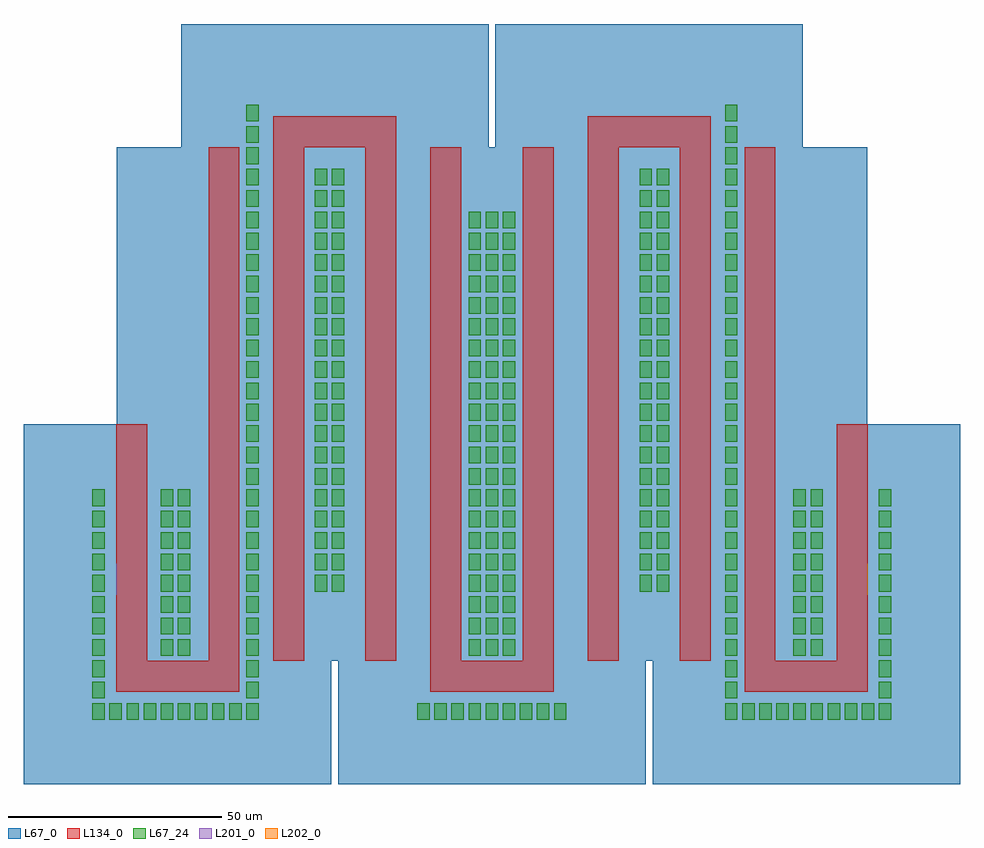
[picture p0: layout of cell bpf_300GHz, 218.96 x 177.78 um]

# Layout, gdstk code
from math import pi, radians
import gdstk
lib = gdstk.Library(unit=1e-6, precision=1e-09)
def R(c, l, rs):  # rectangles x0, y0, x1, y1
    for r in rs: c.add(gdstk.rectangle(r[:2], r[2:], *l))
L67_0 = (67, 0)
L67_24 = (67, 24)
L134_0 = (134, 0)
L201_0 = (201, 0)
L202_0 = (202, 0)

straight_gdsfactorypcomp = lib.new_cell('straight_gdsfactorypcomponentspwaveguidespstraight_L0_N_314f84cf')

c_straight_gdsfactorypcomp = lib.new_cell('straight_gdsfactorypcomponentspwaveguidespstraight_L0_N_18075a77')

tline_l0_scstopmetal2_ro = lib.new_cell('tline_L0_SCStopmetal2_routing_GCSmetal5_routing_WNone_Z50_N2')
tline_l0_scstopmetal2_ro.add(gdstk.Reference(straight_gdsfactorypcomp, (0,0)))
tline_l0_scstopmetal2_ro.add(gdstk.Reference(c_straight_gdsfactorypcomp, (0,0)))

c_straight_gdsfactorypcomp_ = lib.new_cell('straight_gdsfactorypcomponentspwaveguidespstraight_L55p_e40321a2')
R(c_straight_gdsfactorypcomp_, L134_0, [(0,-3.6,55.375,3.6)])

c_straight_gdsfactorypcomp__ = lib.new_cell('straight_gdsfactorypcomponentspwaveguidespstraight_L55p_79a64805')
R(c_straight_gdsfactorypcomp__, L67_0, [(0,-25.2,55.375,25.2)])

tline_l55p375_scstopmeta = lib.new_cell('tline_L55p375_SCStopmetal2_routing_GCSmetal5_routing_WN_9375a09f')
tline_l55p375_scstopmeta.add(gdstk.Reference(c_straight_gdsfactorypcomp_, (0,0)))
tline_l55p375_scstopmeta.add(gdstk.Reference(c_straight_gdsfactorypcomp__, (0,0)))

coupler_tline_z53p879805 = lib.new_cell('coupler_tline_Z53p879805660590485_Z46p64379311500781_L1_391b4040')
R(coupler_tline_z53p879805, L67_0, [(0,-32.68,120.175,32.68)])
R(coupler_tline_z53p879805, L134_0, [(0,-11.17,120.175,-4), (0,4,120.175,11.17)])

rectangle_gdsfactorypcom = lib.new_cell('rectangle_gdsfactorypcomponentspshapesprectangle_S7p2_7_2a688ad3')
R(rectangle_gdsfactorypcom, L134_0, [(0,0,7.2,7.2)])

unnamed_16 = lib.new_cell('Unnamed_16')
R(unnamed_16, L67_0, [(0,0,50.4,50.4)])

c__corner_rectangle_w7p2_l = lib.new_cell('_corner_rectangle_W7p2_L7p2_SCStopmetal2_routing_GCSmet_6323a6bc')
c__corner_rectangle_w7p2_l.add(gdstk.Reference(rectangle_gdsfactorypcom, (0,0)))
c__corner_rectangle_w7p2_l.add(gdstk.Reference(unnamed_16, (-21.6,-21.6)))

c_straight_gdsfactorypcomp___ = lib.new_cell('straight_gdsfactorypcomponentspwaveguidespstraight_L14p_bf3dc41b')
R(c_straight_gdsfactorypcomp___, L134_0, [(0,-3.6,14.37,3.6)])

c_straight_gdsfactorypcomp____ = lib.new_cell('straight_gdsfactorypcomponentspwaveguidespstraight_L14p_f3341283')
R(c_straight_gdsfactorypcomp____, L67_0, [(0,-25.2,14.37,25.2)])

tline_l14p37000000000000 = lib.new_cell('tline_L14p370000000000001_SCStopmetal2_routing_GCSmetal_eb021184')
tline_l14p37000000000000.add(gdstk.Reference(c_straight_gdsfactorypcomp___, (0,0)))
tline_l14p37000000000000.add(gdstk.Reference(c_straight_gdsfactorypcomp____, (0,0)))

c_rectangle_gdsfactorypcom = lib.new_cell('rectangle_gdsfactorypcomponentspshapesprectangle_S7p17__5421809e')
R(c_rectangle_gdsfactorypcom, L134_0, [(0,0,7.17,7.2)])

unnamed_73 = lib.new_cell('Unnamed_73')
R(unnamed_73, L67_0, [(0,0,50.19,50.4)])

c__corner_rectangle_w7p2_l_ = lib.new_cell('_corner_rectangle_W7p2_L7p17_SCStopmetal2_routing_GCSme_d7f328b5')
c__corner_rectangle_w7p2_l_.add(gdstk.Reference(c_rectangle_gdsfactorypcom, (0,0)))
c__corner_rectangle_w7p2_l_.add(gdstk.Reference(unnamed_73, (-21.51,-21.6)))

coupler_tline_z50p185805 = lib.new_cell('coupler_tline_Z50p18580551161779_Z49p81556526677126_L12_64b68916')
R(coupler_tline_z50p185805, L67_0, [(0,-32.8,120.175,32.8)])
R(coupler_tline_z50p185805, L134_0, [(0,-11.2,120.175,-4), (0,4,120.175,11.2)])

c_straight_gdsfactorypcomp_____ = lib.new_cell('straight_gdsfactorypcomponentspwaveguidespstraight_L14p_055b01f6')
R(c_straight_gdsfactorypcomp_____, L134_0, [(0,-3.6,14.4,3.6)])

c_straight_gdsfactorypcomp______ = lib.new_cell('straight_gdsfactorypcomponentspwaveguidespstraight_L14p_2750b8ef')
R(c_straight_gdsfactorypcomp______, L67_0, [(0,-25.2,14.4,25.2)])

tline_l14p4_scstopmetal2 = lib.new_cell('tline_L14p4_SCStopmetal2_routing_GCSmetal5_routing_WNone_Z50_N2')
tline_l14p4_scstopmetal2.add(gdstk.Reference(c_straight_gdsfactorypcomp_____, (0,0)))
tline_l14p4_scstopmetal2.add(gdstk.Reference(c_straight_gdsfactorypcomp______, (0,0)))

c__slit_ground = lib.new_cell('_slit_ground')
R(c__slit_ground, L67_24, [(1.1,1.1,4,5)])

hairpin_coupled_line_ban = lib.new_cell('hairpin_coupled_line_bandpass_filter_O3_F300000000000_B_cc1d2696')
hairpin_coupled_line_ban.add(gdstk.Reference(tline_l0_scstopmetal2_ro, (0,0)))
hairpin_coupled_line_ban.add(gdstk.Reference(tline_l55p375_scstopmeta, (3.6,36.295), rotation=3*pi/2))
hairpin_coupled_line_ban.add(gdstk.Reference(coupler_tline_z53p879805, (32.74,101.095), rotation=3*pi/2))
hairpin_coupled_line_ban.add(gdstk.Reference(c__corner_rectangle_w7p2_l, (0,-26.28)))
hairpin_coupled_line_ban.add(gdstk.Reference(tline_l14p37000000000000, (7.2,-22.68)))
hairpin_coupled_line_ban.add(gdstk.Reference(c__corner_rectangle_w7p2_l_, (21.57,-26.28)))
hairpin_coupled_line_ban.add(gdstk.Reference(coupler_tline_z50p185805, (69.48,101.095), rotation=3*pi/2))
hairpin_coupled_line_ban.add(gdstk.Reference(c__corner_rectangle_w7p2_l_, (36.74,101.095)))
hairpin_coupled_line_ban.add(gdstk.Reference(tline_l14p37000000000000, (43.91,104.695)))
hairpin_coupled_line_ban.add(gdstk.Reference(c__corner_rectangle_w7p2_l, (58.28,101.095)))
hairpin_coupled_line_ban.add(gdstk.Reference(coupler_tline_z50p185805, (106.28,101.095), rotation=3*pi/2))
hairpin_coupled_line_ban.add(gdstk.Reference(c__corner_rectangle_w7p2_l, (73.48,-26.28)))
hairpin_coupled_line_ban.add(gdstk.Reference(tline_l14p4_scstopmetal2, (80.68,-22.68)))
hairpin_coupled_line_ban.add(gdstk.Reference(c__corner_rectangle_w7p2_l, (95.08,-26.28)))
hairpin_coupled_line_ban.add(gdstk.Reference(coupler_tline_z53p879805, (143.02,101.095), rotation=3*pi/2))
hairpin_coupled_line_ban.add(gdstk.Reference(c__corner_rectangle_w7p2_l, (110.28,101.095)))
hairpin_coupled_line_ban.add(gdstk.Reference(tline_l14p37000000000000, (117.48,104.695)))
hairpin_coupled_line_ban.add(gdstk.Reference(c__corner_rectangle_w7p2_l_, (131.85,101.095)))
hairpin_coupled_line_ban.add(gdstk.Reference(c__corner_rectangle_w7p2_l_, (147.02,-26.28)))
hairpin_coupled_line_ban.add(gdstk.Reference(tline_l14p37000000000000, (154.19,-22.68)))
hairpin_coupled_line_ban.add(gdstk.Reference(c__corner_rectangle_w7p2_l, (168.56,-26.28)))
hairpin_coupled_line_ban.add(gdstk.Reference(tline_l55p375_scstopmeta, (172.16,36.295), rotation=3*pi/2, x_reflection=True))
hairpin_coupled_line_ban.add(gdstk.Reference(tline_l0_scstopmetal2_ro, (175.76,0)))
r = gdstk.Reference(c__slit_ground, (9.3,-18.98)); r.repetition = gdstk.Repetition(2, 8, v1=(4,0), v2=(0,5)); hairpin_coupled_line_ban.add(r)
r = gdstk.Reference(c__slit_ground, (81.3,-18.98)); r.repetition = gdstk.Repetition(3, 21, v1=(4,0), v2=(0,5)); hairpin_coupled_line_ban.add(r)
r = gdstk.Reference(c__slit_ground, (157.3,-18.98)); r.repetition = gdstk.Repetition(2, 8, v1=(4,0), v2=(0,5)); hairpin_coupled_line_ban.add(r)
r = gdstk.Reference(c__slit_ground, (45.3,-3.98)); r.repetition = gdstk.Repetition(2, 20, v1=(4,0), v2=(0,5)); hairpin_coupled_line_ban.add(r)
r = gdstk.Reference(c__slit_ground, (121.3,-3.98)); r.repetition = gdstk.Repetition(2, 20, v1=(4,0), v2=(0,5)); hairpin_coupled_line_ban.add(r)
r = gdstk.Reference(c__slit_ground, (-6.7,-33.98)); r.repetition = gdstk.Repetition(1, 11, v1=(0,0), v2=(0,5)); hairpin_coupled_line_ban.add(r)
r = gdstk.Reference(c__slit_ground, (-2.7,-33.98)); r.repetition = gdstk.Repetition(9, 1, v1=(4,0), v2=(0,0)); hairpin_coupled_line_ban.add(r)
r = gdstk.Reference(c__slit_ground, (29.3,-28.98)); r.repetition = gdstk.Repetition(1, 28, v1=(0,0), v2=(0,5)); hairpin_coupled_line_ban.add(r)
r = gdstk.Reference(c__slit_ground, (69.3,-33.98)); r.repetition = gdstk.Repetition(9, 1, v1=(4,0), v2=(0,0)); hairpin_coupled_line_ban.add(r)
r = gdstk.Reference(c__slit_ground, (141.3,-33.98)); r.repetition = gdstk.Repetition(1, 29, v1=(0,0), v2=(0,5)); hairpin_coupled_line_ban.add(r)
r = gdstk.Reference(c__slit_ground, (145.3,-33.98)); r.repetition = gdstk.Repetition(9, 1, v1=(4,0), v2=(0,0)); hairpin_coupled_line_ban.add(r)
r = gdstk.Reference(c__slit_ground, (177.3,-28.98)); r.repetition = gdstk.Repetition(1, 10, v1=(0,0), v2=(0,5)); hairpin_coupled_line_ban.add(r)

c_rectangle_gdsfactorypcom_ = lib.new_cell('rectangle_gdsfactorypcomponentspshapesprectangle_S0p1_7_a4c304ac')
R(c_rectangle_gdsfactorypcom_, L201_0, [(0,0,0.1,7.2)])

c_rectangle_gdsfactorypcom__ = lib.new_cell('rectangle_gdsfactorypcomponentspshapesprectangle_S0p1_7_f59edcc8')
R(c_rectangle_gdsfactorypcom__, L202_0, [(0,0,0.1,7.2)])

bpf_300ghz = lib.new_cell('bpf_300GHz')
bpf_300ghz.add(gdstk.Reference(hairpin_coupled_line_ban, (0,0)))
bpf_300ghz.add(gdstk.Reference(c_rectangle_gdsfactorypcom_, (0,-3.6)))
bpf_300ghz.add(gdstk.Reference(c_rectangle_gdsfactorypcom__, (175.66,-3.6)))

lib.write_gds('bpf_300GHz.gds')
